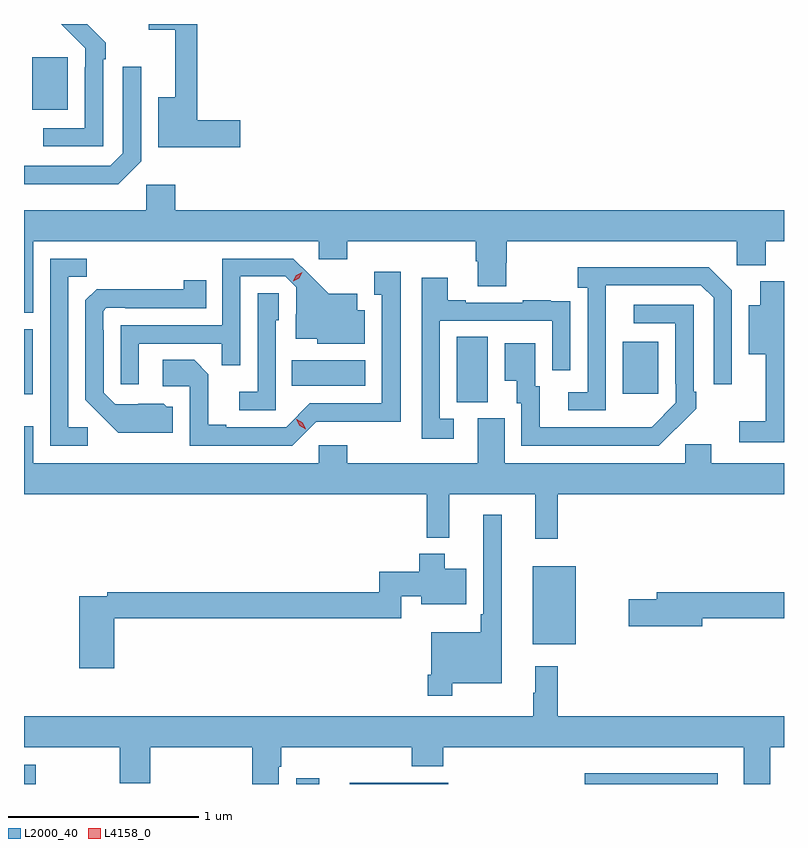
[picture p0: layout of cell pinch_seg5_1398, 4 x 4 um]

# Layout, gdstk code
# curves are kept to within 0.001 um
import gdstk
lib = gdstk.Library(unit=1e-6, precision=1e-09)
def R(c, l, rs):  # rectangles x0, y0, x1, y1
    for r in rs: c.add(gdstk.rectangle(r[:2], r[2:], *l))
def P(c, l, *ps):  # polygons
    for p in ps: c.add(gdstk.Polygon(p, *l))
L2000_40 = (2000, 40)
L4158_0 = (4158, 0)

pinch_seg5_1398 = lib.new_cell('pinch_seg5_1398')
R(pinch_seg5_1398, L2000_40, [(130.852,911.179,130.915,911.281), (132.284,911.179,132.406,911.209), (132.567,911.179,133.085,911.186), (133.803,911.179,134.503,911.236), (133.529,911.915,133.756,912.325), (133.13,913.189,133.294,913.532), (130.852,913.23,130.897,913.573), (134.003,913.233,134.191,913.507), (132.262,913.274,132.649,913.408), (130.895,914.729,131.083,915.004)])
P(pinch_seg5_1398, L2000_40, [(131.268,914.993),(131.283,914.993),(131.283,915.081),(131.185,915.179),(131.048,915.179),(131.175,915.051),(131.175,914.951),(131.172,914.951),(131.172,914.631),(130.953,914.631),(130.953,914.535),(131.268,914.535)],
  [(131.989,914.672),(131.765,914.672),(131.765,915.179),(131.508,915.179),(131.508,915.15),(131.648,915.15),(131.648,914.794),(131.558,914.794),(131.558,914.53),(131.989,914.53)],
  [(131.469,914.457),(131.469,914.953),(131.373,914.953),(131.373,914.499),(131.307,914.433),(130.852,914.433),(130.852,914.336),(131.348,914.336)],
  [(130.9,914.036),(132.402,914.036),(132.402,913.941),(132.554,913.941),(132.554,914.036),(133.229,914.036),(133.229,913.93),(133.241,913.93),(133.241,913.798),(133.389,913.798),(133.389,913.923),(133.394,913.923),(133.394,914.036),(134.604,914.036),(134.604,913.91),(134.756,913.91),(134.756,914.036),(134.852,914.036),(134.852,914.2),(131.648,914.2),(131.648,914.332),(131.496,914.332),(131.496,914.2),(130.852,914.2),(130.852,913.658),(130.9,913.658)],
  [(131.457,913.497),(131.893,913.497),(131.893,913.384),(131.991,913.384),(131.991,913.851),(132.228,913.851),(132.285,913.794),(132.285,913.652),(132.281,913.652),(132.281,913.523),(132.396,913.523),(132.396,913.496),(132.646,913.496),(132.646,913.672),(132.607,913.672),(132.607,913.759),(132.455,913.759),(132.268,913.944),(131.895,913.944),(131.895,913.593),(131.361,913.593),(131.361,913.284),(131.457,913.284)],
  [(131.188,913.056),(131.085,913.056),(131.085,913.849),(131.181,913.849),(131.181,913.944),(130.989,913.944),(130.989,912.96),(131.188,912.96)],
  [(133.914,913.603),(133.915,913.803),(134.415,913.803),(134.481,913.737),(134.481,913.284),(134.577,913.284),(134.577,913.779),(134.456,913.9),(133.767,913.9),(133.767,913.79),(133.818,913.79),(133.818,913.242),(133.716,913.242),(133.716,913.146),(133.914,913.146)],
  [(132.39,913.086),(132.835,913.085),(132.835,913.876),(132.695,913.876),(132.695,913.755),(132.734,913.755),(132.734,913.182),(132.357,913.182),(132.231,913.056),(131.917,913.056),(131.917,913.069),(131.823,913.069),(131.823,913.336),(131.747,913.412),(131.583,913.412),(131.583,913.272),(131.724,913.272),(131.724,912.96),(132.264,912.96)],
  [(133.114,913.101),(133.041,913.101),(133.041,913.617),(133.632,913.617),(133.632,913.356),(133.728,913.356),(133.728,913.61),(133.727,913.61),(133.727,913.719),(133.625,913.719),(133.625,913.726),(133.477,913.726),(133.477,913.713),(133.177,913.713),(133.177,913.726),(133.081,913.726),(133.081,913.843),(132.945,913.843),(132.945,912.996),(133.114,912.996)],
  [(131.635,913.164),(131.604,913.164),(131.588,913.18),(131.331,913.179),(131.271,913.239),(131.271,913.568),(131.268,913.568),(131.268,913.668),(131.286,913.686),(131.386,913.686),(131.386,913.683),(131.81,913.683),(131.81,913.831),(131.692,913.831),(131.692,913.784),(131.234,913.783),(131.175,913.724),(131.175,913.202),(131.347,913.028),(131.635,913.028)],
  [(134.852,913.825),(134.726,913.825),(134.726,913.699),(134.666,913.699),(134.666,913.442),(134.756,913.442),(134.756,913.087),(134.616,913.087),(134.616,912.978),(134.852,912.978)],
  [(132.177,913.62),(132.192,913.62),(132.192,913.763),(132.081,913.763),(132.081,913.243),(131.985,913.243),(131.985,913.146),(132.177,913.146)],
  [(134.285,913.051),(134.286,913.05),(134.391,913.155),(134.391,913.243),(134.376,913.243),(134.376,913.701),(134.061,913.701),(134.061,913.605),(134.28,913.605),(134.28,913.285),(134.283,913.285),(134.283,913.185),(134.155,913.057),(133.567,913.056),(133.567,913.272),(133.543,913.272),(133.543,913.498),(133.382,913.498),(133.382,913.301),(133.445,913.301),(133.445,913.182),(133.47,913.182),(133.47,912.96),(134.194,912.96)],
  [(133.661,912.704),(134.852,912.704),(134.852,912.868),(134.47,912.868),(134.47,912.966),(134.331,912.966),(134.331,912.868),(133.381,912.868),(133.381,913.104),(133.241,913.104),(133.241,912.868),(132.554,912.868),(132.554,912.961),(132.402,912.961),(132.402,912.868),(130.9,912.868),(130.9,913.063),(130.852,913.063),(130.852,912.704),(132.973,912.704),(132.973,912.476),(133.091,912.476),(133.091,912.704),(133.544,912.704),(133.544,912.471),(133.661,912.471)],
  [(133.105,911.708),(133.366,911.708),(133.366,912.595),(133.269,912.595),(133.269,912.073),(133.257,912.073),(133.257,911.977),(132.996,911.977),(132.996,911.755),(132.976,911.755),(132.976,911.643),(133.105,911.643)],
  [(131.327,912.052),(132.837,912.052),(132.837,912.166),(132.944,912.166),(132.944,912.125),(133.18,912.125),(133.18,912.313),(133.066,912.313),(133.066,912.391),(132.932,912.391),(132.932,912.295),(132.721,912.295),(132.721,912.188),(131.29,912.188),(131.29,912.168),(131.144,912.168),(131.144,911.787),(131.327,911.787)],
  [(134.422,912.052),(134.852,912.052),(134.852,912.188),(134.183,912.188),(134.183,912.152),(134.034,912.152),(134.034,912.01),(134.422,912.01)],
  [(132.193,911.271),(132.206,911.271),(132.206,911.372),(132.893,911.372),(132.893,911.273),(133.058,911.273),(133.058,911.372),(134.639,911.372),(134.639,911.179),(134.779,911.179),(134.779,911.372),(134.852,911.372),(134.852,911.536),(133.661,911.536),(133.661,911.8),(133.544,911.8),(133.544,911.66),(133.533,911.66),(133.533,911.536),(130.852,911.536),(130.852,911.372),(131.356,911.372),(131.356,911.183),(131.516,911.183),(131.516,911.372),(132.053,911.372),(132.053,911.179),(132.193,911.179)])
P(pinch_seg5_1398, L4158_0, [(132.269,913.826),(132.269,913.827),(132.286,913.856),(132.316,913.872),(132.316,913.872),(132.316,913.872),(132.3,913.842),(132.27,913.826)],
  [(132.336,913.047),(132.304,913.065),(132.286,913.098),(132.286,913.098),(132.287,913.098),(132.319,913.08),(132.336,913.047),(132.336,913.047)])

lib.write_gds('pinch_seg5_1398.gds')
